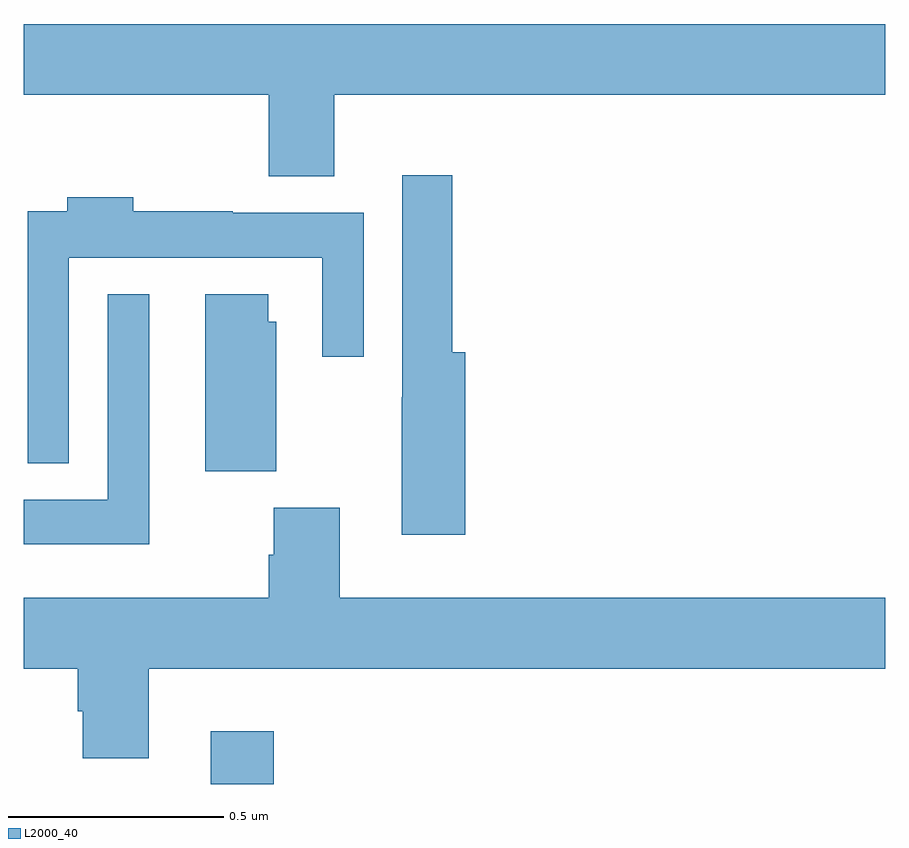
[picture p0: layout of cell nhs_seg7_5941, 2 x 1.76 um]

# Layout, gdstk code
import gdstk
lib = gdstk.Library(unit=1e-6, precision=1e-09)
def R(c, l, rs):  # rectangles x0, y0, x1, y1
    for r in rs: c.add(gdstk.rectangle(r[:2], r[2:], *l))
def P(c, l, *ps):  # polygons
    for p in ps: c.add(gdstk.Polygon(p, *l))
L2000_40 = (2000, 40)

nhs_seg7_5941 = lib.new_cell('nhs_seg7_5941')
R(nhs_seg7_5941, L2000_40, [(192.434,1015,192.581,1015.123)])
P(nhs_seg7_5941, L2000_40, [(192.721,1016.6),(194,1016.6),(194,1016.764),(192,1016.764),(192,1016.6),(192.569,1016.6),(192.569,1016.411),(192.721,1016.411)],
  [(193.025,1016.002),(192.995,1016.002),(192.995,1016.413),(192.879,1016.413),(192.879,1015.898),(192.878,1015.898),(192.878,1015.578),(193.025,1015.578)],
  [(192.105,1016.222),(192.693,1016.222),(192.693,1015.992),(192.789,1015.992),(192.789,1016.326),(192.485,1016.326),(192.485,1016.329),(192.254,1016.329),(192.254,1016.362),(192.101,1016.362),(192.101,1016.329),(192.009,1016.329),(192.009,1015.745),(192.105,1015.745)],
  [(192.292,1016.137),(192.195,1016.137),(192.195,1015.66),(192,1015.66),(192,1015.556),(192.292,1015.556)],
  [(192.586,1016.073),(192.568,1016.073),(192.568,1016.137),(192.422,1016.137),(192.422,1015.726),(192.586,1015.726)],
  [(192.29,1015.268),(194,1015.268),(194,1015.432),(192.734,1015.432),(192.734,1015.641),(192.581,1015.641),(192.581,1015.532),(192.569,1015.532),(192.569,1015.432),(192,1015.432),(192,1015.268),(192.125,1015.268),(192.125,1015.169),(192.137,1015.169),(192.137,1015.06),(192.29,1015.06)])

lib.write_gds('nhs_seg7_5941.gds')
